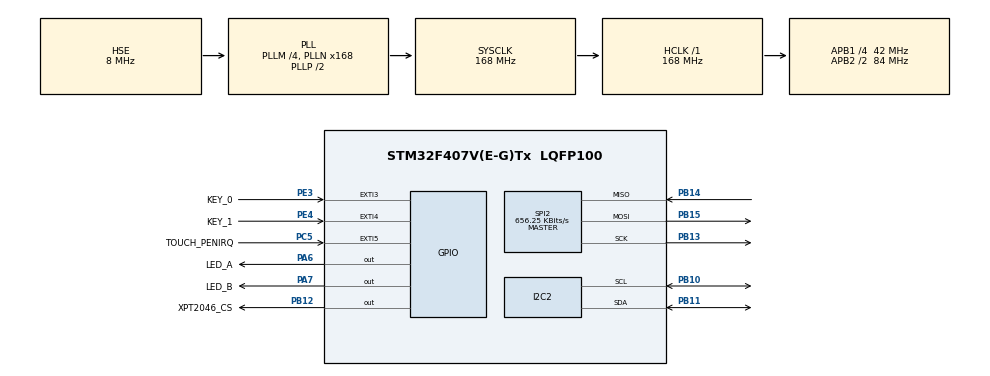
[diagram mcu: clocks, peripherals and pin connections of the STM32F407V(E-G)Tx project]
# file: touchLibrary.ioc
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I2C2.I2C_Mode=I2C_Fast
I2C2.NoStretchMode=I2C_NOSTRETCH_ENABLE
I2C2.OwnAddress=0x3C
Mcu.Family=STM32F4
Mcu.Name=STM32F407V(E-G)Tx
Mcu.Package=LQFP100
NVIC.EXTI3_IRQn=true\:0\:0\:false\:false\:true\:true\:true
NVIC.EXTI4_IRQn=true\:0\:0\:false\:false\:true\:true\:true
NVIC.EXTI9_5_IRQn=true\:0\:0\:false\:false\:true\:true\:true
NVIC.PriorityGroup=NVIC_PRIORITYGROUP_4
PA0-WKUP.Mode=SYS_WakeUp0
PA0-WKUP.Signal=SYS_WKUP
PA13.Mode=Serial_Wire
PA13.Signal=SYS_JTMS-SWDIO
PA14.Mode=Serial_Wire
PA14.Signal=SYS_JTCK-SWCLK
PA6.GPIO_Label=LED_A
PA6.PinState=GPIO_PIN_SET
PA6.Signal=GPIO_Output
PA7.GPIO_Label=LED_B
PA7.PinState=GPIO_PIN_SET
PA7.Signal=GPIO_Output
PB10.GPIO_Pu=GPIO_PULLUP
PB10.Mode=I2C
PB10.Signal=I2C2_SCL
PB11.GPIO_Pu=GPIO_PULLUP
PB11.Mode=I2C
PB11.Signal=I2C2_SDA
PB12.GPIO_Label=XPT2046_CS
PB12.PinState=GPIO_PIN_RESET
PB12.Signal=GPIO_Output
PB13.Mode=Full_Duplex_Master
PB13.Signal=SPI2_SCK
PB14.GPIO_PuPd=GPIO_PULLUP
PB14.Mode=Full_Duplex_Master
PB14.Signal=SPI2_MISO
PB15.Mode=Full_Duplex_Master
PB15.Signal=SPI2_MOSI
PC14-OSC32_IN.Mode=LSE-External-Oscillator
PC14-OSC32_IN.Signal=RCC_OSC32_IN
PC15-OSC32_OUT.Mode=LSE-External-Oscillator
PC15-OSC32_OUT.Signal=RCC_OSC32_OUT
PC5.GPIO_Label=TOUCH_PENIRQ
PC5.GPIO_ModeDefaultEXTI=GPIO_MODE_IT_RISING_FALLING
PC5.GPIO_PuPd=GPIO_PULLUP
PC5.Signal=GPXTI5
PE3.GPIO_Label=KEY_0
PE3.GPIO_PuPd=GPIO_PULLUP
PE3.Signal=GPXTI3
PE4.GPIO_Label=KEY_1
PE4.GPIO_PuPd=GPIO_PULLUP
PE4.Signal=GPXTI4
PH0-OSC_IN.Mode=HSE-External-Oscillator
PH0-OSC_IN.Signal=RCC_OSC_IN
PH1-OSC_OUT.Mode=HSE-External-Oscillator
PH1-OSC_OUT.Signal=RCC_OSC_OUT
ProjectManager.HeapSize=0x200
ProjectManager.StackSize=0x400
ProjectManager.TargetToolchain=STM32CubeIDE
RCC.48MHZClocksFreq_Value=48000000
RCC.AHBFreq_Value=168000000
RCC.APB1CLKDivider=RCC_HCLK_DIV4
RCC.APB1Freq_Value=42000000
RCC.APB1TimFreq_Value=84000000
RCC.APB2CLKDivider=RCC_HCLK_DIV2
RCC.APB2Freq_Value=84000000
RCC.APB2TimFreq_Value=168000000
RCC.CortexFreq_Value=168000000
RCC.EnbaleCSS=true
RCC.HCLKFreq_Value=168000000
RCC.HSE_VALUE=8000000
RCC.HSI_VALUE=16000000
RCC.PLLM=4
RCC.PLLN=168
RCC.PLLQ=7
RCC.PLLSourceVirtual=RCC_PLLSOURCE_HSE
RCC.SYSCLKFreq_VALUE=168000000
RCC.SYSCLKSource=RCC_SYSCLKSOURCE_PLLCLK
RCC.VCOOutputFreq_Value=336000000
SPI2.BaudRatePrescaler=SPI_BAUDRATEPRESCALER_64
SPI2.CalculateBaudRate=656.25 KBits/s
SPI2.Direction=SPI_DIRECTION_2LINES
SPI2.Mode=SPI_MODE_MASTER
SPI2.VirtualType=VM_MASTER
board=custom

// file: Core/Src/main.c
/* USER CODE BEGIN Header */
/**
  ******************************************************************************
  * @file           : main.c
  * @brief          : Main program body
  ******************************************************************************
  * @attention
  *
  * Copyright (c) 2022 STMicroelectronics.
  * All rights reserved.
  *
  * This software is licensed under terms that can be found in the LICENSE file
  * in the root directory of this software component.
  * If no LICENSE file comes with this software, it is provided AS-IS.
  *
  ******************************************************************************
  */
/* USER CODE END Header */
#include "main.h"

/* USER CODE BEGIN Includes */
#include "ssd1306.h"
#include <stdint.h>
#include <stdio.h>
#include <string.h>
#include "XPT2046.c"
/* USER CODE END Includes */

I2C_HandleTypeDef hi2c2;

SPI_HandleTypeDef hspi2;

/* USER CODE BEGIN PV */
char status[64];
/* USER CODE END PV */

void SystemClock_Config(void);
static void MX_GPIO_Init(void);
static void MX_SPI2_Init(void);
static void MX_I2C2_Init(void);

/* USER CODE BEGIN 0 */
// Реализуем абстрагированные функции для подключения к лапалке
// #define XPT2046_SWAP_XY /*Если вместо изменения по X имеем изменение по Y - меняем каналы замера местами*/
//Chip Select
void XPT2046_Select(){
HAL_GPIO_WritePin(XPT2046_CS_GPIO_Port, XPT2046_CS_Pin, GPIO_PIN_RESET);
}
void XPT2046_Deselect(){
	HAL_GPIO_WritePin(XPT2046_CS_GPIO_Port, XPT2046_CS_Pin, GPIO_PIN_SET);
}
// Шлём байт и ничего не ждём
void XPT2046_SPI_send(uint8_t data) {
	 	 HAL_SPI_Transmit(&hspi2, &data, 1, HAL_MAX_DELAY);
}
// Шлём байт - ловим два, пакуем как одно число и в дело
void XPT2046_SPI_Transmit_Receive(uint8_t data_in, uint16_t *data_out) {
	uint8_t data[2] = {0,0};
	static const uint8_t zeroes_tx[] = { 0x00, 0x00 };
	uint16_t datatmp;
	HAL_SPI_Transmit(&hspi2, &data_in, 1, HAL_MAX_DELAY);
	HAL_SPI_TransmitReceive(&hspi2, (uint8_t*)zeroes_tx, data, 2, 1000);
	datatmp =  data[0] * 256 + data[1];
	*data_out = datatmp;
}
// Если в ОСРВ - то тут должен быть delay ОСРВ для передачи выполнения другому потоку
void XPT2046_Wait(uint32_t timeout){
	HAL_Delay(timeout);
}
/*время в МКС для неблокирующего определения длительности */
uint32_t XPT2046_GetTick(){
 return	HAL_GetTick();
}
/*статус ноги прерывания */
GPIO_PinState XPT2046_GetIRQPinState()
{
	return HAL_GPIO_ReadPin(TOUCH_PENIRQ_GPIO_Port, TOUCH_PENIRQ_Pin);
}
/*Включаем обработку касания тача*/
void XPT2046_Enable_Interrupt() {
   HAL_NVIC_EnableIRQ(EXTI9_5_IRQn);
}
/*Выключаем обработку касания тача*/
void XPT2046_Disable_Interrupt() {
   HAL_NVIC_DisableIRQ(EXTI9_5_IRQn);
}
/*реакция на касание*/
void touch_Pressed(uint16_t x, uint16_t y) {
	/*выводим координаты на экран*/
	ssd1306_Clear();
	ssd1306_SetColor(White);

	ssd1306_SetCursor(0, 0);
	sprintf(status,"%f;%f",_z1RawFiltered,_pressure); // Замеры координаты X в пикселях экрана и усредненный результат замера
	ssd1306_WriteString(status, Font_7x8);

	ssd1306_SetCursor(0, 9);
	sprintf(status,"X %4i (%f)",x,_xRawFiltered); // Замеры координаты X в пикселях экрана и усредненный результат замера
	ssd1306_WriteString(status, Font_7x8);

	ssd1306_SetCursor(0, 18);
    sprintf(status,"Y %4i (%f)",y,_yRawFiltered); // Замеры координаты Y в пикселях экрана и усредненный результат замера
    ssd1306_WriteString(status, Font_7x8);

    ssd1306_UpdateScreen();
    HAL_GPIO_WritePin(LED_B_GPIO_Port, LED_B_Pin, GPIO_PIN_RESET); //Зажигаем контрольный светодиод
}

/*реакция на отпускание тача*/
void touch_Released(uint32_t duration) {
	sprintf(status,"released, %08ld\n", duration);
	ssd1306_Clear();
	ssd1306_SetColor(White);
    ssd1306_SetCursor(0, 0);
    ssd1306_WriteString(status, Font_7x8);
  ssd1306_SetCursor(0, 8);
	sprintf(status,"%f;%f",_z1RawFiltered,_pressure); // Замеры координаты X в пикселях экрана и усредненный результат замера
	ssd1306_WriteString(status, Font_7x8);
	  ssd1306_UpdateScreen();

	HAL_GPIO_WritePin(LED_B_GPIO_Port, LED_B_Pin, GPIO_PIN_SET); //Гасим контрольный светодиод
}

/* USER CODE END 0 */

int main(void)
{

  /* MCU Configuration--------------------------------------------------------*/

  /* Reset of all peripherals, Initializes the Flash interface and the Systick. */
  HAL_Init();

  /* Configure the system clock */
  SystemClock_Config();

  /* Initialize all configured peripherals */
  MX_GPIO_Init();
  MX_SPI2_Init();
  MX_I2C2_Init();
  /* USER CODE BEGIN 2 */
  HAL_Delay(500);

  ssd1306_Init();
  ssd1306_FlipScreenVertically();
  ssd1306_UpdateScreen();
  sprintf(status,"connected");
  ssd1306_Clear();
      ssd1306_SetColor(White);
      ssd1306_SetCursor(0, 0);
      ssd1306_WriteString(status, Font_7x8);
  	  ssd1306_UpdateScreen();
  HAL_NVIC_DisableIRQ(EXTI9_5_IRQn);
  XPT2046_init(800, 480, 0,0); //инициализируем либу тача размером дисплея
  XPT2046_clearCalibrationData(); //трём старые данные калибровки

  XPT2046_updateCalibrationParameters();

  /**/
  /* USER CODE END 2 */

  /* Infinite loop */
  /* USER CODE BEGIN WHILE */
   while (1)
  {
	  HAL_Delay(50);
	  HAL_GPIO_TogglePin(LED_A_GPIO_Port, LED_A_Pin);
    /* USER CODE END WHILE */

  }
}

void SystemClock_Config(void)
{
  RCC_OscInitTypeDef RCC_OscInitStruct = {0};
  RCC_ClkInitTypeDef RCC_ClkInitStruct = {0};

  /** Configure the main internal regulator output voltage
  */
  __HAL_RCC_PWR_CLK_ENABLE();
  __HAL_PWR_VOLTAGESCALING_CONFIG(PWR_REGULATOR_VOLTAGE_SCALE1);
  /** Initializes the RCC Oscillators according to the specified parameters
  * in the RCC_OscInitTypeDef structure.
  */
  RCC_OscInitStruct.OscillatorType = RCC_OSCILLATORTYPE_HSE;
  RCC_OscInitStruct.HSEState = RCC_HSE_ON;
  RCC_OscInitStruct.PLL.PLLState = RCC_PLL_ON;
  RCC_OscInitStruct.PLL.PLLSource = RCC_PLLSOURCE_HSE;
  RCC_OscInitStruct.PLL.PLLM = 4;
  RCC_OscInitStruct.PLL.PLLN = 168;
  RCC_OscInitStruct.PLL.PLLP = RCC_PLLP_DIV2;
  RCC_OscInitStruct.PLL.PLLQ = 7;
  if (HAL_RCC_OscConfig(&RCC_OscInitStruct) != HAL_OK)
  {
    Error_Handler();
  }
  /** Initializes the CPU, AHB and APB buses clocks
  */
  RCC_ClkInitStruct.ClockType = RCC_CLOCKTYPE_HCLK|RCC_CLOCKTYPE_SYSCLK
                              |RCC_CLOCKTYPE_PCLK1|RCC_CLOCKTYPE_PCLK2;
  RCC_ClkInitStruct.SYSCLKSource = RCC_SYSCLKSOURCE_PLLCLK;
  RCC_ClkInitStruct.AHBCLKDivider = RCC_SYSCLK_DIV1;
  RCC_ClkInitStruct.APB1CLKDivider = RCC_HCLK_DIV4;
  RCC_ClkInitStruct.APB2CLKDivider = RCC_HCLK_DIV2;

  if (HAL_RCC_ClockConfig(&RCC_ClkInitStruct, FLASH_LATENCY_5) != HAL_OK)
  {
    Error_Handler();
  }
  /** Enables the Clock Security System
  */
  HAL_RCC_EnableCSS();
}

static void MX_I2C2_Init(void)
{

  hi2c2.Instance = I2C2;
  hi2c2.Init.ClockSpeed = 400000;
  hi2c2.Init.DutyCycle = I2C_DUTYCYCLE_2;
  hi2c2.Init.OwnAddress1 = 120;
  hi2c2.Init.AddressingMode = I2C_ADDRESSINGMODE_7BIT;
  hi2c2.Init.DualAddressMode = I2C_DUALADDRESS_DISABLE;
  hi2c2.Init.OwnAddress2 = 0;
  hi2c2.Init.GeneralCallMode = I2C_GENERALCALL_DISABLE;
  hi2c2.Init.NoStretchMode = I2C_NOSTRETCH_ENABLE;
  if (HAL_I2C_Init(&hi2c2) != HAL_OK)
  {
    Error_Handler();
  }

}

static void MX_SPI2_Init(void)
{

  /* SPI2 parameter configuration*/
  hspi2.Instance = SPI2;
  hspi2.Init.Mode = SPI_MODE_MASTER;
  hspi2.Init.Direction = SPI_DIRECTION_2LINES;
  hspi2.Init.DataSize = SPI_DATASIZE_8BIT;
  hspi2.Init.CLKPolarity = SPI_POLARITY_LOW;
  hspi2.Init.CLKPhase = SPI_PHASE_1EDGE;
  hspi2.Init.NSS = SPI_NSS_SOFT;
  hspi2.Init.BaudRatePrescaler = SPI_BAUDRATEPRESCALER_64;
  hspi2.Init.FirstBit = SPI_FIRSTBIT_MSB;
  hspi2.Init.TIMode = SPI_TIMODE_DISABLE;
  hspi2.Init.CRCCalculation = SPI_CRCCALCULATION_DISABLE;
  hspi2.Init.CRCPolynomial = 10;
  if (HAL_SPI_Init(&hspi2) != HAL_OK)
  {
    Error_Handler();
  }

}

static void MX_GPIO_Init(void)
{
  GPIO_InitTypeDef GPIO_InitStruct = {0};

  /* GPIO Ports Clock Enable */
  __HAL_RCC_GPIOE_CLK_ENABLE();
  __HAL_RCC_GPIOC_CLK_ENABLE();
  __HAL_RCC_GPIOH_CLK_ENABLE();
  __HAL_RCC_GPIOA_CLK_ENABLE();
  __HAL_RCC_GPIOB_CLK_ENABLE();

  /*Configure GPIO pin Output Level */
  HAL_GPIO_WritePin(GPIOA, LED_A_Pin|LED_B_Pin, GPIO_PIN_SET);

  /*Configure GPIO pin Output Level */
  HAL_GPIO_WritePin(XPT2046_CS_GPIO_Port, XPT2046_CS_Pin, GPIO_PIN_RESET);

  /*Configure GPIO pins : KEY_0_Pin KEY_1_Pin */
  GPIO_InitStruct.Pin = KEY_0_Pin|KEY_1_Pin;
  GPIO_InitStruct.Mode = GPIO_MODE_IT_RISING;
  GPIO_InitStruct.Pull = GPIO_PULLUP;
  HAL_GPIO_Init(GPIOE, &GPIO_InitStruct);

  /*Configure GPIO pins : LED_A_Pin LED_B_Pin */
  GPIO_InitStruct.Pin = LED_A_Pin|LED_B_Pin;
  GPIO_InitStruct.Mode = GPIO_MODE_OUTPUT_PP;
  GPIO_InitStruct.Pull = GPIO_NOPULL;
  GPIO_InitStruct.Speed = GPIO_SPEED_FREQ_LOW;
  HAL_GPIO_Init(GPIOA, &GPIO_InitStruct);

  /*Configure GPIO pin : TOUCH_PENIRQ_Pin */
  GPIO_InitStruct.Pin = TOUCH_PENIRQ_Pin;
  GPIO_InitStruct.Mode = GPIO_MODE_IT_RISING_FALLING;
  GPIO_InitStruct.Pull = GPIO_PULLUP;
  HAL_GPIO_Init(TOUCH_PENIRQ_GPIO_Port, &GPIO_InitStruct);

  /*Configure GPIO pin : XPT2046_CS_Pin */
  GPIO_InitStruct.Pin = XPT2046_CS_Pin;
  GPIO_InitStruct.Mode = GPIO_MODE_OUTPUT_PP;
  GPIO_InitStruct.Pull = GPIO_NOPULL;
  GPIO_InitStruct.Speed = GPIO_SPEED_FREQ_LOW;
  HAL_GPIO_Init(XPT2046_CS_GPIO_Port, &GPIO_InitStruct);

  /* EXTI interrupt init*/
  HAL_NVIC_SetPriority(EXTI3_IRQn, 0, 0);
  HAL_NVIC_EnableIRQ(EXTI3_IRQn);

  HAL_NVIC_SetPriority(EXTI4_IRQn, 0, 0);
  HAL_NVIC_EnableIRQ(EXTI4_IRQn);

  HAL_NVIC_SetPriority(EXTI9_5_IRQn, 0, 0);
  HAL_NVIC_EnableIRQ(EXTI9_5_IRQn);

}

void Error_Handler(void)
{
  __disable_irq();
  while (1)
  {
  }
}
